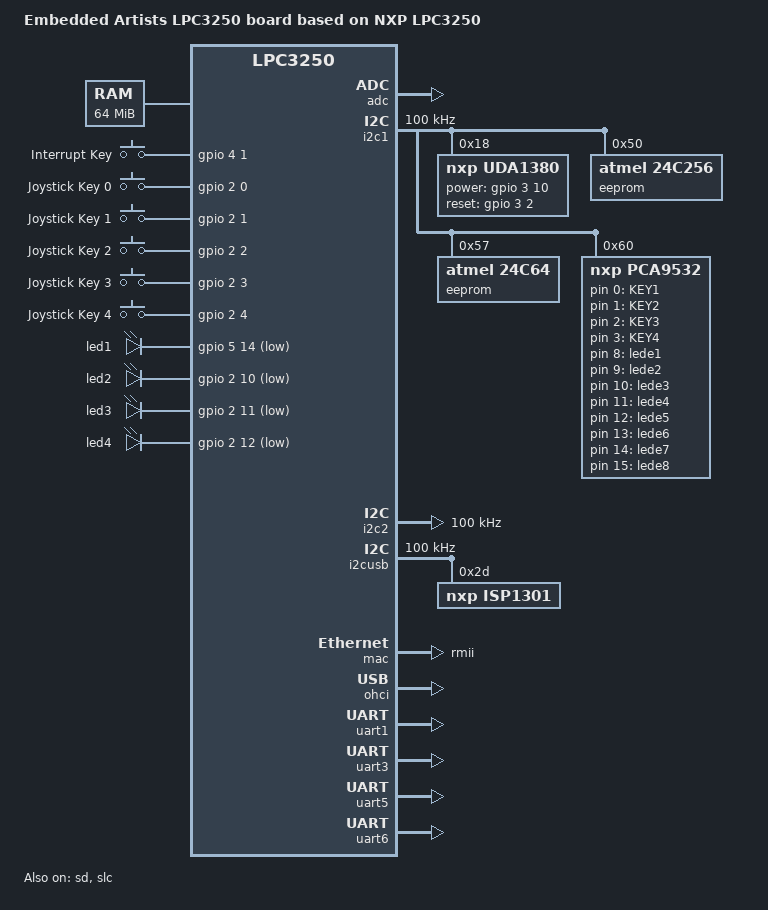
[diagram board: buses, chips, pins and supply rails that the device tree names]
/*
 * Embedded Artists LPC3250 board
 *
 * Copyright 2012 Roland Stigge <stigge@antcom.de>
 *
 * The code contained herein is licensed under the GNU General Public
 * License. You may obtain a copy of the GNU General Public License
 * Version 2 or later at the following locations:
 *
 * http://www.opensource.org/licenses/gpl-license.html
 * http://www.gnu.org/copyleft/gpl.html
 */

/dts-v1/;
#include "lpc32xx.dtsi"

/ {
	model = "Embedded Artists LPC3250 board based on NXP LPC3250";
	compatible = "ea,ea3250", "nxp,lpc3250";

	memory@80000000 {
		device_type = "memory";
		reg = <0x80000000 0x4000000>;
	};

	gpio-keys {
		compatible = "gpio-keys";
		autorepeat;

		button {
			label = "Interrupt Key";
			linux,code = <103>;
			gpios = <&gpio 4 1 0>; /* GPI_P3 1 */
		};

		key1 {
			label = "KEY1";
			linux,code = <1>;
			gpios = <&pca9532 0 0>;
		};

		key2 {
			label = "KEY2";
			linux,code = <2>;
			gpios = <&pca9532 1 0>;
		};

		key3 {
			label = "KEY3";
			linux,code = <3>;
			gpios = <&pca9532 2 0>;
		};

		key4 {
			label = "KEY4";
			linux,code = <4>;
			gpios = <&pca9532 3 0>;
		};

		joy0 {
			label = "Joystick Key 0";
			linux,code = <10>;
			gpios = <&gpio 2 0 0>; /* P2.0 */
		};

		joy1 {
			label = "Joystick Key 1";
			linux,code = <11>;
			gpios = <&gpio 2 1 0>; /* P2.1 */
		};

		joy2 {
			label = "Joystick Key 2";
			linux,code = <12>;
			gpios = <&gpio 2 2 0>; /* P2.2 */
		};

		joy3 {
			label = "Joystick Key 3";
			linux,code = <13>;
			gpios = <&gpio 2 3 0>; /* P2.3 */
		};

		joy4 {
			label = "Joystick Key 4";
			linux,code = <14>;
			gpios = <&gpio 2 4 0>; /* P2.4 */
		};
	};

	leds {
		compatible = "gpio-leds";

		/* LEDs on OEM Board */

		led1 {
			gpios = <&gpio 5 14 1>; /* GPO_P3 14, GPIO 93, active low */
			linux,default-trigger = "timer";
			default-state = "off";
		};

		led2 {
			gpios = <&gpio 2 10 1>; /* P2.10, active low */
			default-state = "off";
		};

		led3 {
			gpios = <&gpio 2 11 1>; /* P2.11, active low */
			default-state = "off";
		};

		led4 {
			gpios = <&gpio 2 12 1>; /* P2.12, active low */
			default-state = "off";
		};

		/* LEDs on Base Board */

		lede1 {
			gpios = <&pca9532 8 0>;
			default-state = "off";
		};
		lede2 {
			gpios = <&pca9532 9 0>;
			default-state = "off";
		};
		lede3 {
			gpios = <&pca9532 10 0>;
			default-state = "off";
		};
		lede4 {
			gpios = <&pca9532 11 0>;
			default-state = "off";
		};
		lede5 {
			gpios = <&pca9532 12 0>;
			default-state = "off";
		};
		lede6 {
			gpios = <&pca9532 13 0>;
			default-state = "off";
		};
		lede7 {
			gpios = <&pca9532 14 0>;
			default-state = "off";
		};
		lede8 {
			gpios = <&pca9532 15 0>;
			default-state = "off";
		};
	};
};

/* 3-axis accelerometer X,Y,Z (or AD-IN instead of Z) */
&adc {
	status = "okay";
};

&i2c1 {
	clock-frequency = <100000>;

	uda1380: uda1380@18 {
		compatible = "nxp,uda1380";
		reg = <0x18>;
		power-gpio = <&gpio 3 10 0>;
		reset-gpio = <&gpio 3 2 0>;
		dac-clk = "wspll";
	};

	eeprom@50 {
		compatible = "atmel,24c256";
		reg = <0x50>;
	};

	eeprom@57 {
		compatible = "atmel,24c64";
		reg = <0x57>;
	};

	pca9532: pca9532@60 {
		compatible = "nxp,pca9532";
		gpio-controller;
		#gpio-cells = <2>;
		reg = <0x60>;
	};
};

&i2c2 {
	clock-frequency = <100000>;
};

&i2cusb {
	clock-frequency = <100000>;

	isp1301: usb-transceiver@2d {
		compatible = "nxp,isp1301";
		reg = <0x2d>;
	};
};

&mac {
	phy-mode = "rmii";
	use-iram;
};

/* Here, choose exactly one from: ohci, usbd */
&ohci /* &usbd */ {
	transceiver = <&isp1301>;
	status = "okay";
};

&sd {
	wp-gpios = <&pca9532 5 0>;
	cd-gpios = <&pca9532 4 0>;
	cd-inverted;
	bus-width = <4>;
	status = "okay";
};

/* 128MB Flash via SLC NAND controller */
&slc {
	status = "okay";

	nxp,wdr-clks = <14>;
	nxp,wwidth = <260000000>;
	nxp,whold = <104000000>;
	nxp,wsetup = <200000000>;
	nxp,rdr-clks = <14>;
	nxp,rwidth = <34666666>;
	nxp,rhold = <104000000>;
	nxp,rsetup = <200000000>;
	nand-on-flash-bbt;
	gpios = <&gpio 5 19 1>; /* GPO_P3 19, active low */

	partitions {
		compatible = "fixed-partitions";
		#address-cells = <1>;
		#size-cells = <1>;

		mtd0@0 {
			label = "ea3250-boot";
			reg = <0x00000000 0x00080000>;
			read-only;
		};

		mtd1@80000 {
			label = "ea3250-uboot";
			reg = <0x00080000 0x000c0000>;
			read-only;
		};

		mtd2@140000 {
			label = "ea3250-kernel";
			reg = <0x00140000 0x00400000>;
		};

		mtd3@540000 {
			label = "ea3250-rootfs";
			reg = <0x00540000 0x07ac0000>;
		};
	};
};

&uart1 {
	status = "okay";
};

&uart3 {
	status = "okay";
};

&uart5 {
	status = "okay";
};

&uart6 {
	status = "okay";
};
